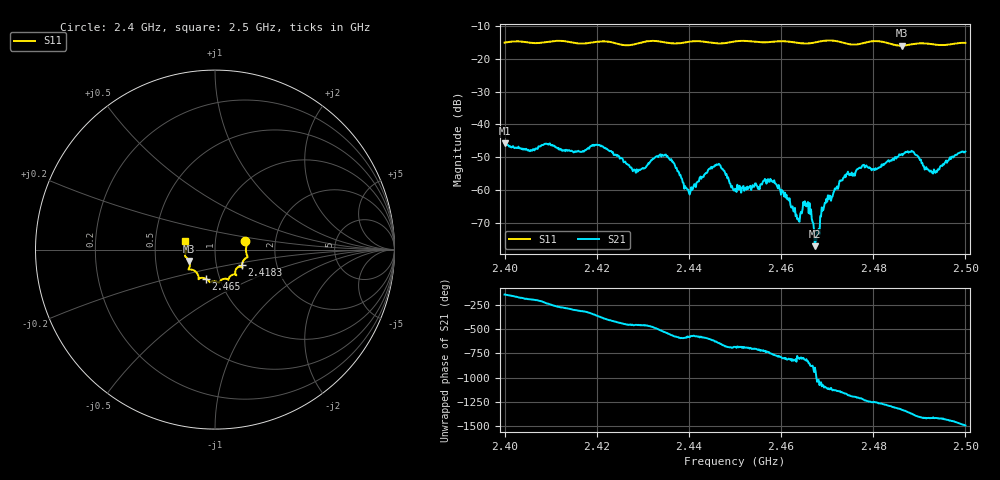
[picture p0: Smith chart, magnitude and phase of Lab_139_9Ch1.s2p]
# Hz S RI R 50
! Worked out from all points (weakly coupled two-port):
!   601 points, 2.4 GHz to 2.5 GHz, reference 50 ohm
!   highest |S21| = -45.73 dB at 2.4 GHz (marker M1); lowest = -77.0 dB at 2.4673 GHz (marker M2)
!   lowest |S11| = -16.1 dB at 2.4862 GHz (marker M3), VSWR 1.37, Z = 37.1 - j4.82 ohm
!   |S11| at or under -10 dB: start of sweep to end of sweep
!   S12 and S22 are empty: the file has one direction only
!   S11 on the Smith chart (normalised r, x): 2.4 GHz: 1.40, +0.13; 2.4183 GHz: 1.33, -0.24; 2.465 GHz: 0.86, -0.29; 2.5 GHz: 0.71, +0.07
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2.4e9  0.1692 0.046  -0.00419 -0.00303  0 0  0 0
2.416667e9  0.1549 -0.0682  0.00272 0.00269  0 0  0 0
2.418333e9  0.1499 -0.0873  0.00375 0.00202  0 0  0 0
2.428333e9  0.1129 -0.1221  -0.000238 -0.00196  0 0  0 0
2.433333e9  0.1175 -0.141  -0.00251 -0.00196  0 0  0 0
2.436333e9  0.0966 -0.1409  -0.0025 0.00107  0 0  0 0
2.439833e9  0.0762 -0.1627  -0.000754 0.000685  0 0  0 0
2.446167e9  0.0515 -0.1625  0.000331 0.00241  0 0  0 0
2.45e9  0.0256 -0.1807  0.000843 0.000628  0 0  0 0
2.458e9  -0.0177 -0.1786  0.00111 -0.000781  0 0  0 0
2.463667e9  -0.04 -0.1692  6.49e-05 -0.000366  0 0  0 0
2.465e9  -0.0524 -0.1618  -1.97e-05 -0.000595  0 0  0 0
2.466667e9  -0.0712 -0.1573  -0.000341 -0.000124  0 0  0 0
2.467333e9  -0.0783 -0.1578  -0.000141 -7.14e-06  0 0  0 0
2.467833e9  -0.0824 -0.1588  0.000194 0.000143  0 0  0 0
2.47e9  -0.0916 -0.1647  0.000569 -0.000348  0 0  0 0
2.474e9  -0.0947 -0.1421  0.000167 -0.00156  0 0  0 0
2.483333e9  -0.1415 -0.0965  -0.00247 0.00144  0 0  0 0
2.486167e9  -0.144 -0.0633  -0.00121 0.00334  0 0  0 0
2.4885e9  -0.1601 -0.0435  0.00174 0.00345  0 0  0 0
2.493333e9  -0.1631 -0.0168  0.00179 0.00074  0 0  0 0
2.5e9  -0.1671 0.0469  0.00234 -0.00309  0 0  0 0
